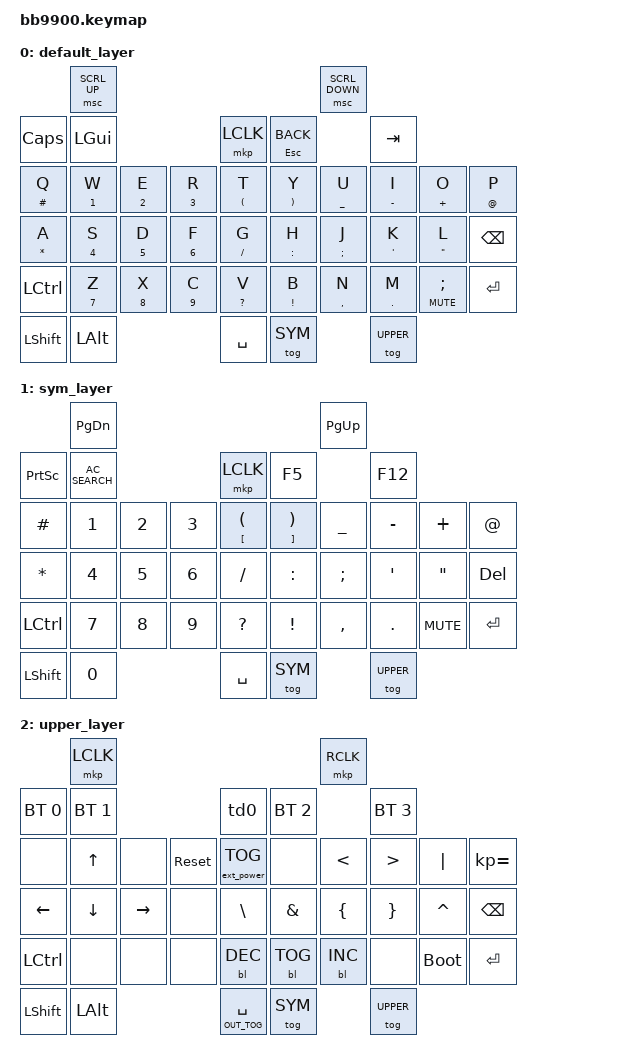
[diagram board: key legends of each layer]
/*
 * Copyright (c) 2023 ZitaoTech
 *
 * SPDX-License-Identifier: MIT
 */
   
#include <behaviors.dtsi>
#include <dt-bindings/zmk/keys.h>
#include <dt-bindings/zmk/bt.h>
#include <dt-bindings/zmk/outputs.h>
#include <dt-bindings/zmk/mouse.h>
#include <dt-bindings/zmk/backlight.h>
#include <dt-bindings/zmk/ext_power.h>


#define SYM 1
#define UPPER 2

/ {
    behaviors {
        td0: tap_dance_0 {
            compatible = "zmk,behavior-tap-dance";
            #binding-cells = <0>;
            tapping-term-ms = <400>;
            bindings = <&mkp LCLK>, <&bt BT_CLR>;
        };
        
        hm: homerow_mods {
            compatible = "zmk,behavior-hold-tap";
            #binding-cells = <2>;
            tapping-term-ms = <500>;
            bindings = <&out &kp>;
        };

        // both tap and hold should be normal characters
        thk: tap_hold_for_keys {
            compatible = "zmk,behavior-hold-tap";
            label = "default chars";
            #binding-cells = <2>;
            flavor = "tap-preferred";
            tapping-term-ms = <400>;
            quick-tap-ms = <400>;
            bindings = <&kp>, <&kp>;
        };          
    };

    keymap {
        compatible = "zmk,keymap";

        default_layer {

            bindings = <
//         --------------------------------------------------------------------------------------------------------------------------         
//         |    Shoulder Key1    |                                                                             |    Shoulder Key2    |     
// |         Call key      |      Blackberry Key        |    Trackpad    |             Back Key                |             Endcall Key          |
// |     Q      |     W    |     E    |     R    |      T      |       Y        |       U        |        I        |       O      |      P        |     
// |     A      |     S    |     D    |     F    |      G      |       H        |       J        |        K        |       L      |      ←        |  
// |     alt    |     Z    |     X    |     C    |      V      |       B        |       N        |        M        |       $      |    Enter      |   
//        |         aA     |         0           |           SPACE              |         SYM         |        aA          |       
//        -----------------------------------------------------------------------------------------------------------------

                 &msc SCRL_UP                                                                                       &msc SCRL_DOWN
    &kp CLCK                &kp LGUI                            &mkp LCLK                          &mt ESC K_BACK                    &kp TAB
    &thk HASH Q        &thk N1 W      &thk N2 E       &thk N3 R     &thk LPAR T         &thk RPAR Y             &thk UNDER U            &thk MINUS I            &thk PLUS O            &thk AT P
    &thk STAR A        &thk N4 S      &thk N5 D       &thk N6 F     &thk SLASH G        &thk COLON H            &thk SEMI  J            &thk APOS K             &thk DQT L             &kp BSPC
    &kp LCTRL          &thk N7 Z      &thk N8 X       &thk N9 C     &thk QMARK V        &thk EXCL B             &thk COMMA N            &thk DOT M              &thk C_MUTE SEMI       &kp ENTER
    &kp LSHFT               &kp LALT                            &kp SPACE                          &tog SYM                          &tog UPPER
            >;
        };


        sym_layer {

            bindings = <        
                 &kp PAGE_DOWN                                                                                       &kp PAGE_UP
    &kp PSCRN               &kp C_AC_SEARCH                     &mkp LCLK                          &kp F5                            &kp F12 
    &kp HASH     &kp N1     &kp N2      &kp N3    &mt LBKT LPAR &mt RBKT RPAR     &kp UNDER        &kp MINUS        &kp PLUS         &kp AT
    &kp STAR     &kp N4     &kp N5      &kp N6    &kp SLASH     &kp COLON         &kp SEMI         &kp APOS         &kp DQT          &kp DEL
    &kp LCTRL    &kp N7     &kp N8      &kp N9    &kp QMARK     &kp EXCL          &kp COMMA        &kp DOT          &kp C_MUTE       &kp ENTER
    &kp LSHFT               &kp N0                              &kp SPACE                          &tog SYM                          &tog UPPER
            >;
        };

        upper_layer {

            bindings = <
                 &mkp LCLK                                                                                          &mkp RCLK
    &bt BT_SEL 0            &bt BT_SEL 1                             &td0                           &bt BT_SEL 2                     &bt BT_SEL 3
    &none        &kp UP     &none       &sys_reset &ext_power EP_TOG &none         &kp LT           &kp GT          &kp PIPE         &kp KP_EQUAL
    &kp LEFT     &kp DOWN   &kp RIGHT   &none      &kp BSLH          &kp AMPS      &kp LBRC         &kp RBRC        &kp CARET        &kp BSPC
    &kp LCTRL    &none      &none       &none      &bl BL_DEC        &bl BL_TOG    &bl BL_INC       &none           &bootloader      &kp ENTER
    &kp LSHFT               &kp LALT                                 &hm OUT_TOG SPACE              &tog SYM                         &tog UPPER
            >;
        };
    };
};

